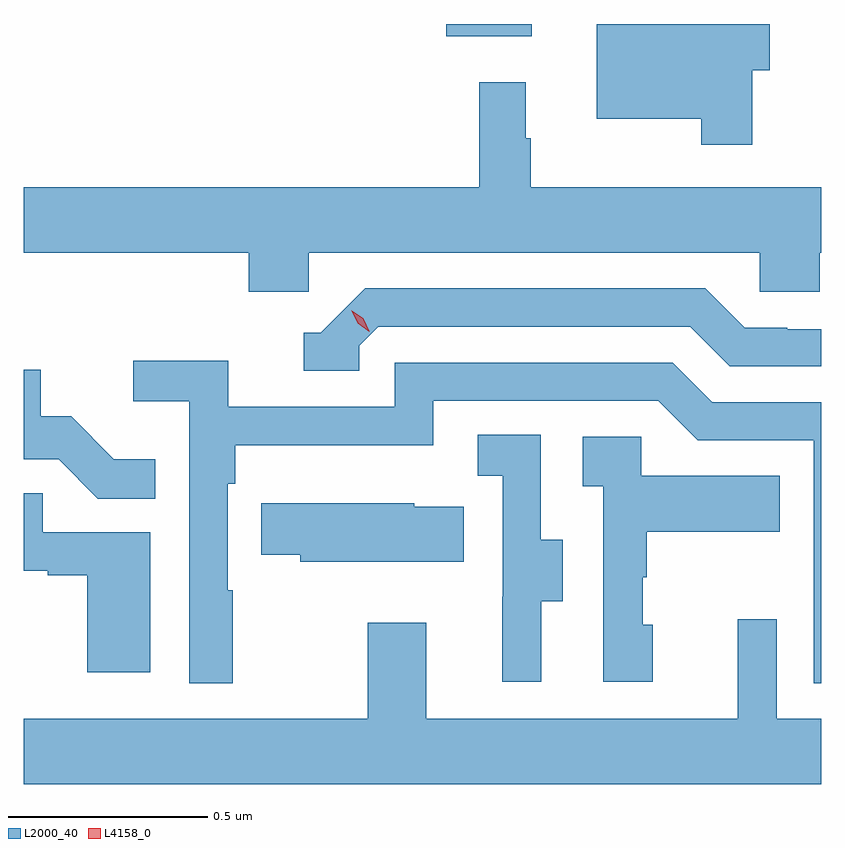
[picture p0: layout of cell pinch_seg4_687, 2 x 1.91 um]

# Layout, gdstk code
import gdstk
lib = gdstk.Library(unit=1e-6, precision=1e-09)
def R(c, l, rs):  # rectangles x0, y0, x1, y1
    for r in rs: c.add(gdstk.rectangle(r[:2], r[2:], *l))
def P(c, l, *ps):  # polygons
    for p in ps: c.add(gdstk.Polygon(p, *l))
L2000_40 = (2000, 40)
L4158_0 = (4158, 0)

pinch_seg4_687 = lib.new_cell('pinch_seg4_687')
R(pinch_seg4_687, L2000_40, [(1125.284,754.739,1125.499,754.77)])
P(pinch_seg4_687, L2000_40, [(1126.052,754.654),(1126.096,754.654),(1126.096,754.77),(1125.662,754.77),(1125.662,754.532),(1125.924,754.532),(1125.924,754.467),(1126.052,754.467)],
  [(1124.94,754.196),(1126.071,754.196),(1126.071,754.098),(1126.221,754.098),(1126.221,754.196),(1126.225,754.196),(1126.225,754.36),(1125.496,754.36),(1125.496,754.484),(1125.484,754.484),(1125.484,754.624),(1125.367,754.624),(1125.367,754.36),(1124.225,754.36),(1124.225,754.196),(1124.789,754.196),(1124.789,754.098),(1124.94,754.098)],
  [(1125.066,753.963),(1125.114,754.011),(1125.897,754.011),(1125.996,753.912),(1126.225,753.912),(1126.225,754.005),(1126.14,754.005),(1126.14,754.008),(1126.033,754.008),(1125.934,754.107),(1125.081,754.107),(1124.97,753.996),(1124.927,753.996),(1124.927,753.9),(1125.066,753.9)],
  [(1124.749,753.35),(1124.736,753.35),(1124.736,753.617),(1124.756,753.617),(1124.756,753.713),(1125.252,753.713),(1125.252,753.825),(1125.816,753.825),(1125.915,753.726),(1126.206,753.726),(1126.206,753.117),(1126.225,753.117),(1126.225,753.822),(1125.952,753.822),(1125.853,753.921),(1125.156,753.921),(1125.156,753.81),(1124.738,753.81),(1124.738,753.926),(1124.499,753.926),(1124.499,753.824),(1124.64,753.824),(1124.64,753.117),(1124.749,753.117)],
  [(1124.555,753.679),(1124.451,753.679),(1124.344,753.786),(1124.268,753.786),(1124.268,753.903),(1124.225,753.903),(1124.225,753.678),(1124.313,753.678),(1124.411,753.58),(1124.555,753.58)],
  [(1125.523,753.322),(1125.577,753.322),(1125.577,753.477),(1125.522,753.477),(1125.522,753.74),(1125.363,753.74),(1125.363,753.637),(1125.426,753.637),(1125.426,753.333),(1125.425,753.333),(1125.425,753.12),(1125.523,753.12)],
  [(1125.802,753.264),(1125.777,753.264),(1125.777,753.383),(1125.787,753.383),(1125.787,753.497),(1126.121,753.497),(1126.121,753.637),(1125.774,753.637),(1125.774,753.735),(1125.627,753.735),(1125.627,753.611),(1125.678,753.611),(1125.678,753.12),(1125.802,753.12)],
  [(1124.542,753.495),(1124.273,753.495),(1124.273,753.593),(1124.225,753.593),(1124.225,753.399),(1124.285,753.399),(1124.285,753.387),(1124.384,753.387),(1124.384,753.144),(1124.542,753.144)],
  [(1125.329,753.559),(1125.204,753.559),(1125.204,753.568),(1124.821,753.568),(1124.821,753.439),(1124.919,753.439),(1124.919,753.422),(1125.329,753.422)],
  [(1126.225,753.028),(1126.113,753.028),(1126.113,753.277),(1126.016,753.277),(1126.016,753.028),(1125.235,753.028),(1125.235,753.268),(1125.088,753.268),(1125.088,753.028),(1124.225,753.028),(1124.225,752.864),(1126.225,752.864)])
P(pinch_seg4_687, L4158_0, [(1125.092,753.998),(1125.062,754.019),(1125.046,754.052),(1125.046,754.052),(1125.046,754.052),(1125.076,754.032),(1125.092,753.999),(1125.092,753.998)])

lib.write_gds('pinch_seg4_687.gds')
